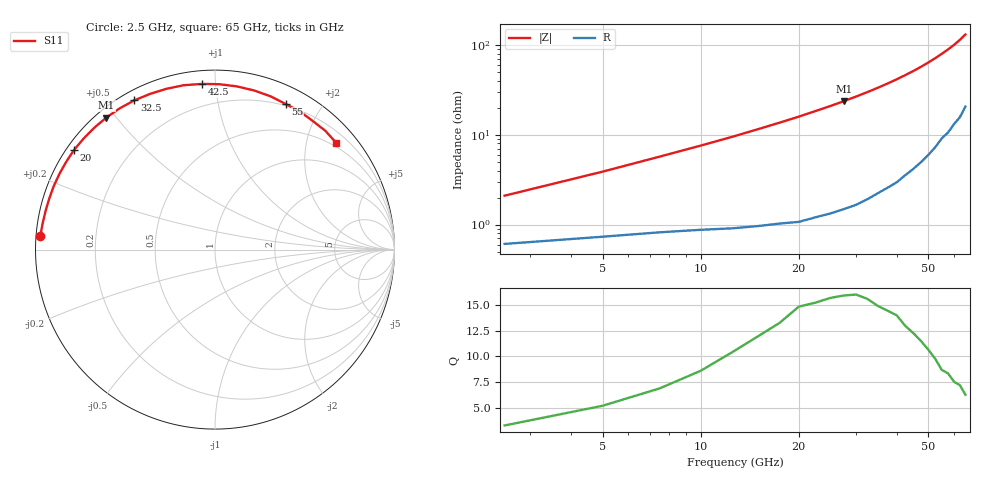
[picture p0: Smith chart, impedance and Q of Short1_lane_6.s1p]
! File created by SignalIntegrity v1.5.1: Signal and Power Integrity Tools
! https://github.com/Nubis-Communications/SignalIntegrity
# MHz S MA R 50.0
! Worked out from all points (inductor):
!   26 points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, 2.5 GHz to 65 GHz, reference 50 ohm
!   read as one part to ground: L = 121 pH near 2.5 GHz
!   highest Q = 15.9 at 27.5 GHz (marker M1), where L = 137 pH
!   S11 on the Smith chart (normalised r, x): 2.5 GHz: 0.01, +0.04; 20 GHz: 0.02, +0.32; 32.5 GHz: 0.04, +0.60; 42.5 GHz: 0.07, +0.92; 55 GHz: 0.18, +1.58; 65 GHz: 0.41, +2.58
2500  0.976 175.4
5000  0.9713 171.3
7500  0.9681 167.1
10000  0.9664 162.9
12500  0.9655 158.6
15000  0.9641 154.1
17500  0.9625 149.5
20000  0.9618 144.8
22500  0.9584 139.8
25000  0.9557 134.7
27500  0.9526 129.4
30000  0.9495 124.0
32500  0.9451 118.4
35000  0.9399 112.6
37500  0.9358 106.7
40000  0.9322 100.7
42500  0.926 94.6
45000  0.9218 88.5
47500  0.9174 82.3
50000  0.913 76.2
52500  0.9084 70.1
55000  0.9018 64.1
57500  0.9032 58.4
60000  0.8999 52.8
62500  0.9034 47.1
65000  0.9001 41.5
